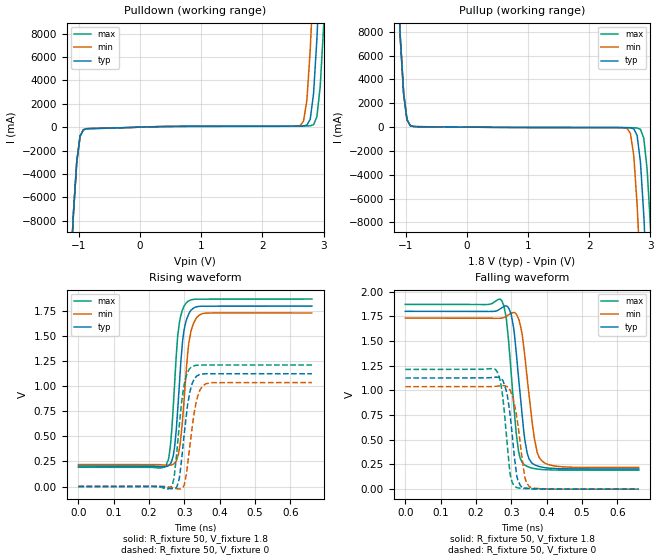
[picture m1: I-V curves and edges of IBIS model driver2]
| IBIS file invchain_skewp_tr20ps.ibs created by PYS2IBIS3
| Missouri S&T EMC Lab
[IBIS Ver] 7.1
[File Name] invchain_skewp_tr20ps.ibs
[File Rev] 1.0
[Date] Jul 27, 2026
[Source] inv_chain variant 'skewp' -- weak PMOS, Wp = Wn
[Notes] Parameter selection; sim_time=6.606e-10, tr=tf=2.000e-11.
[Component] invchain
[Manufacturer] s2ibispy study
[Package]
| variable   typ   min   max
R_pkg 0 NA NA
L_pkg 0H NA NA
C_pkg 0F NA NA
[Pin]  signal_name   model_name   R_pin   L_pin   C_pin
VSSQ   VSSQ   Gnd
VCCQ   VCCQ   Power
| IN IN dummy
PAD   PAD   driver2
| End of Component
| Models and submodels in the file (1): driver2 (Output)
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[Model] driver2
Model_type Output
Polarity Non-Inverting
Enable Active-High
Vinl  = 0.8V
Vinh  = 2V
C_comp 0.4680pF NA NA
[Temperature Range] 27.0000 27.0000 27.0000
[Voltage Range] 1.8000V 1.7000V 1.9000V
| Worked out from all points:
|   slope of the pulldown table from 0 to 0.27 V, typ, clamps not added: 6.79 ohm
|   slope of the pullup table from 0 to 0.27 V, typ, clamps not added: 24.6 ohm
|   rising waveform, R_fixture 50, V_fixture 1.8: 20-80 % time 20.1ps typ, 21.4ps min, 18.7ps max; typ from 0.204 V to 1.8 V
|   rising waveform, R_fixture 50, V_fixture 0: 20-80 % time 22.3ps typ, 23.9ps min, 21.3ps max; typ from 0 V to 1.12 V
|   falling waveform, R_fixture 50, V_fixture 1.8: 20-80 % time 26.1ps typ, 29.4ps min, 23.8ps max; typ from 1.8 V to 0.204 V
|   falling waveform, R_fixture 50, V_fixture 0: 20-80 % time 21.2ps typ, 24.1ps min, 19.3ps max; typ from 1.12 V to 0 V
[Pulldown]
| Voltage   I(typ)   I(min)   I(max)
-1.8V     -87.88A    -87.88A    -87.88A
-1.145V   -13.18A    -13.18A    -13.18A
-1.091V   -7.364A    -7.362A    -7.366A
-981.8mV  -760.7mA   -755.8mA   -765.3mA
-927.3mV  -221.8mA   -216.4mA   -227mA
2.618V    89.37mA    140mA      93.72mA
2.727V    172.9mA    2.318A     99.43mA
2.836V    2.874A     12.68A     215.6mA
2.891V    7.545A     19.33A     885.6mA
2.946V    13.8A      25.98A     3.505A
3V        20.45A     32.63A     8.516A
3.6V      93.6A      105.8A     81.42A
[Pullup]
| Voltage   I(typ)   I(min)   I(max)
-1.8V     93.5A      93.5A      93.5A
-1.145V   13.72A     13.72A     13.72A
-1.091V   7.473A     7.472A     7.473A
-1.036V   2.812A     2.811A     2.812A
-981.8mV  621.2mA    620.4mA    621.9mA
-927.3mV  124.8mA    123.9mA    125.6mA
2.618V    -45.42mA   -113mA     -43.22mA
2.727V    -144.2mA   -2.378A    -50.27mA
2.836V    -2.918A    -12.15A    -185.8mA
2.891V    -7.358A    -18.37A    -914mA
3V        -19.41A    -30.82A    -8.26A
3.6V      -87.89A    -99.3A     -76.48A
[Ramp]
| variable   typ   min   max
dV/dt_r 0.6750/0.02254n 0.6222/0.02389n 0.7272/0.02138n
dV/dt_f 0.9575/0.026n 0.8972/0.02854n 1.0171/0.02424n
R_load = 50
[Rising Waveform]
R_fixture = 50
V_fixture = 1.8
|time   V(typ)   V(min)   V(max)
0s        204.2mV    219.5mV    192.2mV
246.7ps   198.9mV    212.4mV    203.8mV
259.9ps   225.4mV    213.2mV    394.2mV
272.4ps   405.8mV    236.8mV    1.045V
282.4ps   843.3mV    312.6mV    1.547V
293.6ps   1.418V     622.2mV    1.755V
309.5ps   1.7V       1.34V      1.847V
324ps     1.777V     1.614V     1.866V
352.5ps   1.8V       1.726V     1.87V
660.6ps   1.8V       1.731V     1.87V
[Rising Waveform]
R_fixture = 50
V_fixture = 0
|time   V(typ)   V(min)   V(max)
0s        9.143nV    8.943nV    9.398nV
264.5ps   -21.92mV   -9.317mV   5.198mV
270.5ps   -20.95mV   -14.93mV   83.58mV
285ps     72.75mV    -24.29mV   604.8mV
299.6ps   534.2mV    17.04mV    1.024V
308.8ps   814.7mV    212.5mV    1.139V
320.7ps   1.018V     564mV      1.195V
336.6ps   1.106V     892.5mV    1.21V
359.1ps   1.125V     1.022V     1.212V
660.6ps   1.125V     1.037V     1.212V
[Falling Waveform]
R_fixture = 50
V_fixture = 1.8
|time   V(typ)   V(min)   V(max)
0s        1.8V       1.731V     1.87V
273.1ps   1.836V     1.733V     1.907V
285.7ps   1.855V     1.75V      1.732V
304.9ps   1.664V     1.788V     935.4mV
319.4ps   1.165V     1.732V     402.4mV
336.6ps   538.5mV    1.394V     246.9mV
349.2ps   312.5mV    978mV      223.3mV
363.7ps   249.9mV    544.2mV    209.4mV
384.2ps   224.8mV    293.2mV    199.4mV
660.6ps   204.2mV    219.5mV    192.2mV
[Falling Waveform]
R_fixture = 50
V_fixture = 0
|time   V(typ)   V(min)   V(max)
0s        1.125V     1.037V     1.212V
255.3ps   1.134V     1.04V      1.21V
270.5ps   1.122V     1.046V     1.058V
284.4ps   1.017V     1.044V     618.4mV
297.6ps   716.3mV    993.1mV    134.5mV
311.5ps   240.4mV    812mV      22.77mV
318.7ps   87.74mV    649mV      12.87mV
337.9ps   12.38mV    128mV      5.938mV
354.4ps   6.385mV    17.81mV    3.043mV
660.6ps   -309.7nV   -1.072uV   -45.4nV
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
